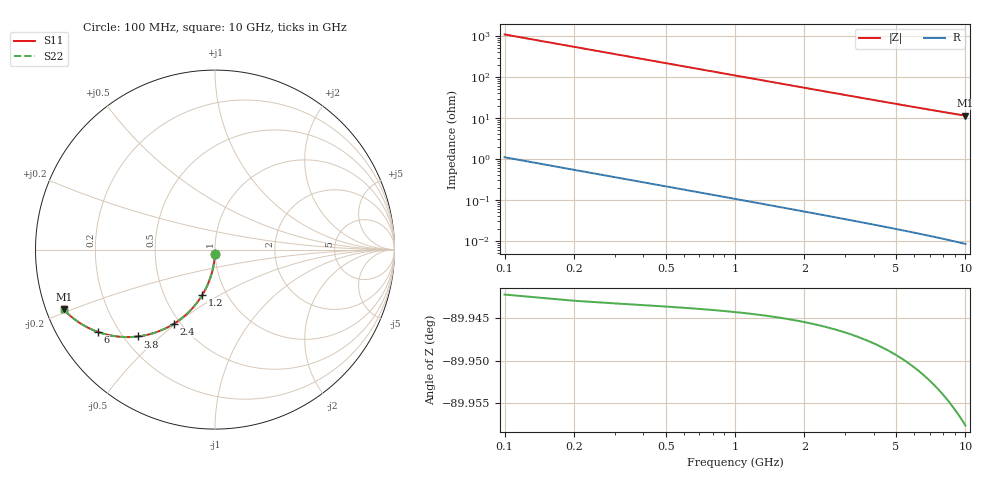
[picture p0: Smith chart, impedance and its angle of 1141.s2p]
# Hz S RI R 50.00
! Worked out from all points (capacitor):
!   100 points, 100 MHz to 10 GHz, reference 50 ohm
!   read as one part in shunt: C = 1.45 pF near 100 MHz
!   lowest |Z| = 11.5 ohm at 10 GHz (marker M1)
!   S11 on the Smith chart (normalised r, x): 100 MHz: 1.00, -0.04; 1.2 GHz: 0.77, -0.42; 2.4 GHz: 0.46, -0.49; 3.8 GHz: 0.25, -0.42; 6 GHz: 0.12, -0.31; 10 GHz: 0.05, -0.19
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1e8  -0.000431 -0.0225  0.9993 -0.0231  0.9993 -0.0231  -0.000431 -0.0225
2e8  -0.00201 -0.045  0.9978 -0.0461  0.9978 -0.0461  -0.00201 -0.045
3e8  -0.00461 -0.0673  0.9952 -0.0689  0.9952 -0.0689  -0.00461 -0.0673
4e8  -0.00823 -0.0893  0.9915 -0.0916  0.9915 -0.0916  -0.00823 -0.0893
5e8  -0.0128 -0.1112  0.9869 -0.1139  0.9869 -0.1139  -0.0128 -0.1112
6e8  -0.0184 -0.1326  0.9814 -0.136  0.9814 -0.136  -0.0184 -0.1326
7e8  -0.0249 -0.1537  0.9749 -0.1576  0.9749 -0.1576  -0.0249 -0.1537
9e8  -0.0405 -0.1944  0.9593 -0.1994  0.9593 -0.1994  -0.0405 -0.1944
1.2e9  -0.0698 -0.2512  0.9299 -0.2579  0.9299 -0.2579  -0.0698 -0.2512
1.5e9  -0.105 -0.302  0.8948 -0.3103  0.8948 -0.3103  -0.105 -0.302
1.8e9  -0.1445 -0.3462  0.8552 -0.3562  0.8552 -0.3562  -0.1445 -0.3462
2.1e9  -0.1869 -0.3836  0.8128 -0.3953  0.8128 -0.3953  -0.1869 -0.3836
2.4e9  -0.231 -0.4144  0.7687 -0.4277  0.7687 -0.4277  -0.231 -0.4144
2.9e9  -0.305 -0.4519  0.6946 -0.4681  0.6946 -0.4681  -0.305 -0.4519
3.4e9  -0.3765 -0.4746  0.6231 -0.4935  0.6231 -0.4935  -0.3765 -0.4746
3.8e9  -0.4302 -0.484  0.5694 -0.5052  0.5694 -0.5052  -0.4302 -0.484
4.4e9  -0.5034 -0.4872  0.496 -0.5118  0.496 -0.5118  -0.5034 -0.4872
5.1e9  -0.5772 -0.4791  0.4222 -0.5078  0.4222 -0.5078  -0.5772 -0.4791
6e9  -0.6546 -0.4579  0.3445 -0.4917  0.3445 -0.4917  -0.6546 -0.4579
6.7e9  -0.7033 -0.4371  0.2957 -0.475  0.2957 -0.475  -0.7033 -0.4371
8.4e9  -0.7898 -0.3825  0.2088 -0.4304  0.2088 -0.4304  -0.7898 -0.3825
1e10  -0.8431 -0.3335  0.155 -0.391  0.155 -0.391  -0.8431 -0.3335
